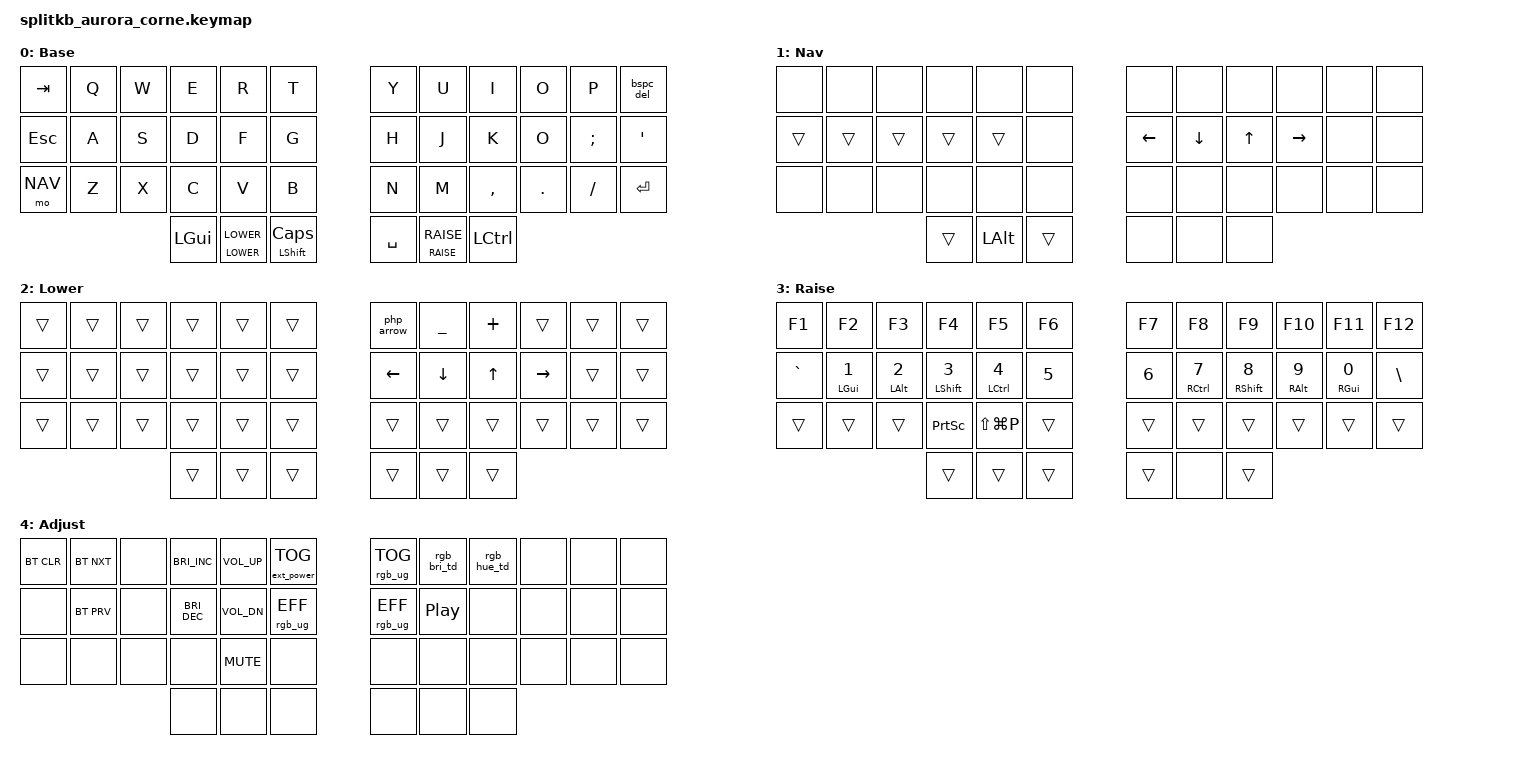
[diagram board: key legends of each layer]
/*
 * Copyright (c) 2020 The ZMK Contributors
 *
 * SPDX-License-Identifier: MIT
 * Ref:
 * - https://precondition.github.io/home-row-mods#home-row-mods-order
 * - https://www.reddit.com/r/ErgoMechKeyboards/comments/11gejh3/lpt_try_urobs_zmk_timeless_homerow_mods_combos/
 * - https://github.com/urob/zmk-config
 */

#include <behaviors.dtsi>
#include <dt-bindings/zmk/ext_power.h>
#include <dt-bindings/zmk/keys.h>
#include <dt-bindings/zmk/bt.h>
#include <dt-bindings/zmk/rgb.h>

// override the pin used by the nice!view
nice_view_spi: &spi0 {
    compatible = "nordic,nrf-spim";
    pinctrl-0 = <&spi0_default>;
    pinctrl-1 = <&spi0_sleep>;
    pinctrl-names = "default", "sleep";
    cs-gpios = <&pro_micro 0 GPIO_ACTIVE_HIGH>;
};

// layers
#define BASE 0
#define NAV 1
#define LOWER 2
#define RAISE 3
#define ADJUST 4

// home-row mod timing config
#define HRM_TAPPING_TERM 300
#define HRM_TAPPING_TERM_FAST 200
#define HRM_QUICK_TAP 175
#define HRM_PRIOR_IDLE 100

/* key positions
╭────────────────────────┬────────────────────────╮
│  0   1   2   3   4   5 │  6   7   8   9  10  11 │
│ 12  13  14  15  16  17 │ 18  19  20  21  22  23 │
│ 24  25  26  27  28  29 │ 30  31  32  33  34  35 │
╰───────────╮ 36  37  38 │ 39  40  41 ╭───────────╯
            ╰────────────┴────────────╯
*/
#define KEYS_L 0 1 2 3 4 5 12 13 14 15 16 17 24 25 26 27 28 29
#define KEYS_R 6 7 8 9 10 11 18 19 20 21 22 23 30 31 32 33 34 35
#define KEYS_T 36 37 38 39 40 41

// shortcuts
#define XXX &none
#define ___ &trans
#define HYPER LS(LC(LG(LALT)))
#define WINDOW(k) LC(LA(k))
#define RAYCAST F20
#define HAMMERSPOON F19
#define SCREENSHOT LG(LS(N4))

#include "settings.dtsi"
#include "combos.dtsi"

/ {
    conditional_layers {
        compatible = "zmk,conditional-layers";
        tri_layer {
            if-layers = <LOWER RAISE>;
            then-layer = <ADJUST>;
        };
    };

    behaviors {
        hrm_l: homerow_mods_left {
            compatible = "zmk,behavior-hold-tap";
            #binding-cells = <2>;
            bindings = <&kp>, <&kp>;

            flavor = "balanced";
            tapping-term-ms = <HRM_TAPPING_TERM>;
            quick-tap-ms = <HRM_QUICK_TAP>;
            require-prior-idle-ms = <HRM_PRIOR_IDLE>;
            hold-trigger-key-positions = <KEYS_R KEYS_T>;
            hold-trigger-on-release;
        };

        hrm_r: homerow_mods_right {
            compatible = "zmk,behavior-hold-tap";
            #binding-cells = <2>;
            bindings = <&kp>, <&kp>;

            flavor = "balanced";
            tapping-term-ms = <HRM_TAPPING_TERM>;
            quick-tap-ms = <HRM_QUICK_TAP>;
            require-prior-idle-ms = <HRM_PRIOR_IDLE>;
            hold-trigger-key-positions = <KEYS_L KEYS_T>;
            hold-trigger-on-release;
        };

        mo_sl: behavior_mo_sl {
            compatible = "zmk,behavior-hold-tap";
            #binding-cells = <2>;
            flavor = "hold-preferred";
            tapping-term-ms = <150>;
            bindings = <&mo>, <&sl>;
        };

        kp_kt: kp_kt {
            compatible = "zmk,behavior-hold-tap";
            #binding-cells = <2>;
            bindings = <&kp>, <&kt>;
            flavor = "hold-preferred";
            tapping-term-ms = <HRM_TAPPING_TERM>;
        };

        // underglow brightness dance
        rgb_bri_td: rgb_bri_td {
            compatible = "zmk,behavior-tap-dance";
            #binding-cells = <0>;
            tapping-term-ms = <200>;
            bindings = <&rgb_ug RGB_BRI>, <&rgb_ug RGB_BRD>;
        };

        // underglow brightness dance
        rgb_hue_td: rgb_hue_td {
            compatible = "zmk,behavior-tap-dance";
            #binding-cells = <0>;
            tapping-term-ms = <200>;
            bindings = <&rgb_ug RGB_HUI>, <&rgb_ug RGB_HUD>;
        };

        // tap: capslock, hold: shift, tap-hold:control
        shift_lock_tap_dance: shift_lock_tap_dance {
            compatible = "zmk,behavior-tap-dance";
            #binding-cells = <0>;
            tapping-term-ms = <150>;
            bindings = <&kp_kt LSHIFT LSHIFT>, <&kp LCTRL>; // TODO: change LCTRL to something else, maybe a layer, maybe enter, maybe lgui
        };

        // tap: backspace | shift-tap: del
        bspc_del: bspc_del {
            compatible = "zmk,behavior-mod-morph";
            #binding-cells = <0>;
            bindings = <&kp BSPC>, <&kp DEL>;
            mods = <(MOD_LSFT)>;
        };
    };

    macros {
        php_arrow: php_arrow {
            compatible = "zmk,behavior-macro";
            #binding-cells = <0>;
            bindings = <&kp MINUS &kp GT>;
        };
        emoji_react: emoji_react {
            compatible = "zmk,behavior-macro";
            #binding-cells = <0>;
            bindings = <&kp PLUS &kp COLON>;
        };
    };

    keymap {
        compatible = "zmk,keymap";

        base_layer {
            display-name = "Base";
            bindings = <
// ╭────────────────────────┬────────────────────────┬────────────────────────┬────────────────────────┬────────────────────────┬────────────────────────╮    ╭────────────────────────┬────────────────────────┬────────────────────────┬───────────────────────┬────────────────────────┬────────────────────────╮
            &kp TAB                   &kp Q                    &kp W                    &kp E                    &kp R                     &kp T                         &kp Y                   &kp U                    &kp I                    &kp O                  &kp P                    &bspc_del
// ├────────────────────────┼────────────────────────┼────────────────────────┼────────────────────────┼────────────────────────┼────────────────────────┤    ├────────────────────────┼────────────────────────┼────────────────────────┼───────────────────────┼────────────────────────┼────────────────────────┤
            &kp ESC                   &kp A                    &kp S                    &kp D                    &kp F                     &kp G                         &kp H                   &kp J                    &kp K                    &kp O                  &kp SEMI                  &kp SQT
// ├────────────────────────┼────────────────────────┼────────────────────────┼────────────────────────┼────────────────────────┼────────────────────────┤    ├────────────────────────┼────────────────────────┼────────────────────────┼───────────────────────┼────────────────────────┼────────────────────────┤
            &mo NAV                   &kp Z                    &kp X                    &kp C                    &kp V                     &kp B                         &kp N                   &kp M                   &kp COMMA                 &kp DOT                &kp FSLH                 &kp ENTER
// ╰────────────────────────┴────────────────────────┴────────────────────────┼────────────────────────┼────────────────────────┼────────────────────────┤    ├────────────────────────┼────────────────────────┼────────────────────────┼───────────────────────┴────────────────────────┴────────────────────────╯
                                                                                       &kp LGUI            &mo_sl LOWER LOWER      &mt LSHIFT CAPSLOCK                &kp SPACE            &mo_sl RAISE RAISE            &kp LCTRL
//                                                                            ╰────────────────────────┴────────────────────────┴────────────────────────╯    ╰────────────────────────┴────────────────────────┴────────────────────────╯
            >;
        };

        navigation_layer {
            display-name = "Nav";
            bindings = <
// ╭────────────────────────┬────────────────────────┬────────────────────────┬────────────────────────┬────────────────────────┬────────────────────────╮    ╭────────────────────────┬────────────────────────┬────────────────────────┬───────────────────────┬────────────────────────┬────────────────────────╮
              XXX                       XXX                      XXX                      XXX                      XXX                     XXX                           XXX                      XXX                      XXX                      XXX                     XXX                      XXX
// ├────────────────────────┼────────────────────────┼────────────────────────┼────────────────────────┼────────────────────────┼────────────────────────┤    ├────────────────────────┼────────────────────────┼────────────────────────┼───────────────────────┼────────────────────────┼────────────────────────┤
              ___                       ___                      ___                      ___                      ___                     XXX                         &kp LEFT                &kp DOWN                  &kp UP                  &kp RIGHT                  XXX                      XXX
// ├────────────────────────┼────────────────────────┼────────────────────────┼────────────────────────┼────────────────────────┼────────────────────────┤    ├────────────────────────┼────────────────────────┼────────────────────────┼───────────────────────┼────────────────────────┼────────────────────────┤
              XXX                       XXX                      XXX                      XXX                      XXX                     XXX                           XXX                      XXX                      XXX                      XXX                     XXX                      XXX
// ╰────────────────────────┴────────────────────────┴────────────────────────┼────────────────────────┼────────────────────────┼────────────────────────┤    ├────────────────────────┼────────────────────────┼────────────────────────┼───────────────────────┴────────────────────────┴────────────────────────╯
                                                                                          ___                    &kp LALT                  ___                           XXX                      XXX                      XXX
//                                                                            ╰────────────────────────┴────────────────────────┴────────────────────────╯    ╰────────────────────────┴────────────────────────┴────────────────────────╯
            >;
        };

        lower {
            display-name = "Lower";
            bindings = <
// ╭────────────────────────┬────────────────────────┬────────────────────────┬────────────────────────┬────────────────────────┬────────────────────────╮    ╭────────────────────────┬────────────────────────┬────────────────────────┬───────────────────────┬────────────────────────┬────────────────────────╮
              ___                       ___                      ___                      ___                      ___                      ___                       &php_arrow                &kp UNDER                &kp PLUS                   ___                     ___                      ___
// ├────────────────────────┼────────────────────────┼────────────────────────┼────────────────────────┼────────────────────────┼────────────────────────┤    ├────────────────────────┼────────────────────────┼────────────────────────┼───────────────────────┼────────────────────────┼────────────────────────┤
              ___                       ___                      ___                      ___                      ___                      ___                        &kp LEFT                &kp DOWN                  &kp UP                  &kp RIGHT                  ___                      ___
// ├────────────────────────┼────────────────────────┼────────────────────────┼────────────────────────┼────────────────────────┼────────────────────────┤    ├────────────────────────┼────────────────────────┼────────────────────────┼───────────────────────┼────────────────────────┼────────────────────────┤
              ___                       ___                      ___                      ___                      ___                      ___                           ___                      ___                      ___                     ___                     ___                      ___
// ╰────────────────────────┴────────────────────────┴────────────────────────┼────────────────────────┼────────────────────────┼────────────────────────┤    ├────────────────────────┼────────────────────────┼────────────────────────┼───────────────────────┴────────────────────────┴────────────────────────╯
                                                                                          ___                      ___                      ___                           ___                      ___                      ___
//                                                                            ╰────────────────────────┴────────────────────────┴────────────────────────╯    ╰────────────────────────┴────────────────────────┴────────────────────────╯
            >;
        };

        raise {
            display-name = "Raise";
            bindings = <
// ╭────────────────────────┬────────────────────────┬────────────────────────┬────────────────────────┬────────────────────────┬────────────────────────╮    ╭────────────────────────┬────────────────────────┬────────────────────────┬───────────────────────┬────────────────────────┬────────────────────────╮
             &kp F1                   &kp F2                   &kp F3                   &kp F4                   &kp F5                  &kp F6                         &kp F7                   &kp F8                   &kp F9                 &kp F10                 &kp F11                  &kp F12 
// ├────────────────────────┼────────────────────────┼────────────────────────┼────────────────────────┼────────────────────────┼────────────────────────┤    ├────────────────────────┼────────────────────────┼────────────────────────┼───────────────────────┼────────────────────────┼────────────────────────┤
            &kp GRAVE              &hrm_l LGUI N1           &hrm_l LALT N2         &hrm_l LSHIFT N3          &hrm_l LCTRL N4              &kp N5                        &kp N6               &hrm_r RCTRL N7         &hrm_r RSHIFT N8          &hrm_r RALT N9          &hrm_r RGUI N0              &kp BSLH
// ├────────────────────────┼────────────────────────┼────────────────────────┼────────────────────────┼────────────────────────┼────────────────────────┤    ├────────────────────────┼────────────────────────┼────────────────────────┼───────────────────────┼────────────────────────┼────────────────────────┤
              ___                       ___                      ___                   &kp PSCRN              &kp LS(LG(P))                 ___                           ___                      ___                      ___                    ___                     ___                      ___
// ╰────────────────────────┴────────────────────────┴────────────────────────┼────────────────────────┼────────────────────────┼────────────────────────┤    ├────────────────────────┼────────────────────────┼────────────────────────┼───────────────────────┴────────────────────────┴────────────────────────╯
                                                                                          ___                      ___                      ___                           ___                      XXX                      ___
//                                                                            ╰────────────────────────┴────────────────────────┴────────────────────────╯    ╰────────────────────────┴────────────────────────┴────────────────────────╯
            >;
        };

        adjust_layer {
            display-name = "Adjust";
            bindings = <
// ╭────────────────────────┬────────────────────────┬────────────────────────┬────────────────────────┬────────────────────────┬────────────────────────╮    ╭────────────────────────┬────────────────────────┬────────────────────────┬───────────────────────┬────────────────────────┬────────────────────────╮
           &bt BT_CLR               &bt BT_NXT                   XXX                 &kp C_BRI_INC             &kp C_VOL_UP          &ext_power EP_TOG              &rgb_ug RGB_TOG            &rgb_bri_td              &rgb_hue_td                  XXX                     XXX                      XXX
// ├────────────────────────┼────────────────────────┼────────────────────────┼────────────────────────┼────────────────────────┼────────────────────────┤    ├────────────────────────┼────────────────────────┼────────────────────────┼───────────────────────┼────────────────────────┼────────────────────────┤
              XXX                   &bt BT_PRV                   XXX                 &kp C_BRI_DEC             &kp C_VOL_DN           &rgb_ug RGB_EFF               &rgb_ug RGB_EFF         &kp C_PLAY_PAUSE               XXX                      XXX                     XXX                      XXX
// ├────────────────────────┼────────────────────────┼────────────────────────┼────────────────────────┼────────────────────────┼────────────────────────┤    ├────────────────────────┼────────────────────────┼────────────────────────┼───────────────────────┼────────────────────────┼────────────────────────┤
              XXX                       XXX                      XXX                      XXX                   &kp K_MUTE                  XXX                           XXX                      XXX                      XXX                      XXX                     XXX                      XXX
// ╰────────────────────────┴────────────────────────┴────────────────────────┼────────────────────────┼────────────────────────┼────────────────────────┤    ├────────────────────────┼────────────────────────┼────────────────────────┼───────────────────────┴────────────────────────┴────────────────────────╯
                                                                                          XXX                      XXX                      XXX                           XXX                      XXX                      XXX
//                                                                            ╰────────────────────────┴────────────────────────┴────────────────────────╯    ╰────────────────────────┴────────────────────────┴────────────────────────╯
            >;
        };
    };
};

// vi: ft=dts textwidth=0 noautoindent
